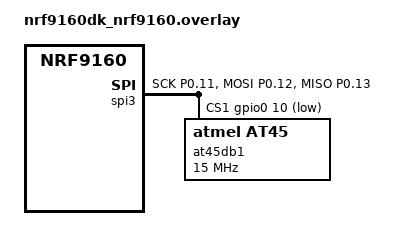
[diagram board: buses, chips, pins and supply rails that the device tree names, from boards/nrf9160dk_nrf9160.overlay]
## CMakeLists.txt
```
# SPDX-License-Identifier: Apache-2.0

cmake_minimum_required(VERSION 3.20.0)
find_package(Zephyr REQUIRED HINTS $ENV{ZEPHYR_BASE})
project(spi_flash_at45)

FILE(GLOB app_sources src/*.c)
target_sources(app PRIVATE ${app_sources})
```

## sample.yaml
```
sample:
  name: SPI Flash AT45 Sample
tests:
  sample.drivers.spi.flash.at45.build:
    tags:
      - spi
      - flash
    depends_on: spi
    filter: dt_compat_enabled("atmel,at45")
    build_only: true
  sample.drivers.spi.flash.at45.build.page_layout:
    extra_args: OVERLAY_CONFIG="overlay-page_layout.conf"
    tags:
      - spi
      - flash
    depends_on: spi
    filter: dt_compat_enabled("atmel,at45")
    build_only: true
  sample.drivers.spi.flash.at45.build.pm:
    extra_args: OVERLAY_CONFIG="overlay-pm.conf"
    tags:
      - spi
      - flash
    depends_on: spi
    filter: dt_compat_enabled("atmel,at45")
    build_only: true
  sample.drivers.spi.flash.at45.build.page_layout_pm:
    extra_args: OVERLAY_CONFIG="overlay-page_layout.conf;overlay-pm.conf"
    tags:
      - spi
      - flash
    depends_on: spi
    filter: dt_compat_enabled("atmel,at45")
    build_only: true
  sample.drivers.spi.flash.at45:
    extra_args: OVERLAY_CONFIG="overlay-page_layout.conf;overlay-pm.conf"
    tags:
      - spi
      - flash
    depends_on: spi
    filter: dt_compat_enabled("atmel,at45")
    harness: console
    harness_config:
      type: multi_line
      ordered: true
      regex:
        - "Using \\w+, chip size: \\d+ bytes \\(page: \\d+\\)"
        - "Reading the first byte of the test region ... OK"
        - "Preparing test content starting with 0x[0-9a-f]{2}."
        - "Writing the first half of the test region... OK"
        - "Writing the second half of the test region... OK"
        - "Reading the whole test region... OK"
        - "Checking the read content... OK"
        - "Putting the flash device into low power state... OK"
      fixture: atmel_at45
```

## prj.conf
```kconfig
CONFIG_STDOUT_CONSOLE=y
CONFIG_LOG=y
CONFIG_LOG_MODE_IMMEDIATE=y

CONFIG_SPI=y
CONFIG_FLASH=y
CONFIG_PM_DEVICE=y
```

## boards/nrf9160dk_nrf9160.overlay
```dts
/*
 * Copyright (c) 2020 Nordic Semiconductor ASA
 *
 * SPDX-License-Identifier: Apache-2.0
 */

&pinctrl {
	spi3_default_alt: spi3_default_alt {
		group1 {
			psels = <NRF_PSEL(SPIM_SCK, 0, 11)>,
				<NRF_PSEL(SPIM_MOSI, 0, 12)>,
				<NRF_PSEL(SPIM_MISO, 0, 13)>;
		};
	};

	spi3_sleep_alt: spi3_sleep_alt {
		group1 {
			psels = <NRF_PSEL(SPIM_SCK, 0, 11)>,
				<NRF_PSEL(SPIM_MOSI, 0, 12)>,
				<NRF_PSEL(SPIM_MISO, 0, 13)>;
			low-power-enable;
		};
	};
};

&spi3 {
	pinctrl-0 = <&spi3_default_alt>;
	pinctrl-1 = <&spi3_sleep_alt>;
	pinctrl-names = "default", "sleep";
	cs-gpios = <&gpio0 20 GPIO_ACTIVE_LOW>,
		   <&gpio0 10 GPIO_ACTIVE_LOW>;

	at45db0: at45db041e@0 {
		compatible = "atmel,at45";
		reg = <0>;
		spi-max-frequency = <15000000>;
		jedec-id = [1f 24 00];
		size = <4194304>;
		sector-size = <65536>;
		block-size = <2048>;
		page-size = <256>;
		enter-dpd-delay = <2000>;
		exit-dpd-delay = <35000>;
		status = "disabled";
	};

	at45db1: at45db321e@1 {
		compatible = "atmel,at45";
		reg = <1>;
		spi-max-frequency = <15000000>;
		jedec-id = [1f 27 01];
		size = <33554432>;
		sector-size = <65536>;
		block-size = <4096>;
		page-size = <512>;
		use-udpd;
		enter-dpd-delay = <1000>;
		exit-dpd-delay = <180000>;
		status = "okay";
	};
};

&uart0 {
	/*
	 * Only TX is used in this sample, so disable RX to prevent UART
	 * receiver from being enabled and consuming power.
	 */
	disable-rx;
};
```

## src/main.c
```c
/*
 * Copyright (c) 2020 Nordic Semiconductor ASA
 *
 * SPDX-License-Identifier: Apache-2.0
 */

#include <zephyr/kernel.h>
#include <zephyr/drivers/flash.h>
#include <zephyr/logging/log_ctrl.h>
#include <zephyr/pm/device.h>

/* Set to 1 to test the chip erase functionality. Please be aware that this
 * operation takes quite a while (it depends on the chip size, but can easily
 * take tens of seconds).
 * Note - erasing of the test region or whole chip is performed only when
 *        CONFIG_SPI_FLASH_AT45_USE_READ_MODIFY_WRITE is not enabled.
 */
#define ERASE_WHOLE_CHIP    0

#define TEST_REGION_OFFSET  0xFE00
#define TEST_REGION_SIZE    0x400

static uint8_t write_buf[TEST_REGION_SIZE];
static uint8_t read_buf[TEST_REGION_SIZE];

int main(void)
{
	printk("DataFlash sample on %s\n", CONFIG_BOARD);

	const struct device *const flash_dev = DEVICE_DT_GET_ONE(atmel_at45);
	int i;
	int err;
	uint8_t data;
#ifdef CONFIG_FLASH_PAGE_LAYOUT
	struct flash_pages_info pages_info;
	size_t page_count, chip_size;
#endif

	if (!device_is_ready(flash_dev)) {
		printk("%s: device not ready.\n", flash_dev->name);
		return 0;
	}

#ifdef CONFIG_FLASH_PAGE_LAYOUT
	page_count = flash_get_page_count(flash_dev);
	(void)flash_get_page_info_by_idx(flash_dev, 0, &pages_info);
	chip_size = page_count * pages_info.size;
	printk("Using %s, chip size: %u bytes (page: %u)\n",
	       flash_dev->name, chip_size, pages_info.size);
#endif

	printk("Reading the first byte of the test region ... ");
	err = flash_read(flash_dev, TEST_REGION_OFFSET, &data, 1);
	if (err != 0) {
		printk("FAILED\n");
		return 0;
	}

	printk("OK\n");

	++data;
	printk("Preparing test content starting with 0x%02X.\n", data);
	for (i = 0; i < TEST_REGION_SIZE; ++i) {
		write_buf[i] = (uint8_t)(data + i);
	}

#ifndef CONFIG_SPI_FLASH_AT45_USE_READ_MODIFY_WRITE
	if (ERASE_WHOLE_CHIP) {
#ifdef CONFIG_FLASH_PAGE_LAYOUT
		printk("Erasing the whole chip... ");
		err = flash_erase(flash_dev, 0, chip_size);
#else
		#error To full chip erase you need enable flash page layout
#endif
	} else {
		printk("Erasing the test region... ");
		err = flash_erase(flash_dev,
				  TEST_REGION_OFFSET, TEST_REGION_SIZE);
	}

	if (err != 0) {
		printk("FAILED\n");
		return 0;
	}

	printk("OK\n");

	printk("Checking if the test region is erased... ");
	err = flash_read(flash_dev, TEST_REGION_OFFSET,
			 read_buf, TEST_REGION_SIZE);
	if (err != 0) {
		printk("FAILED\n");
		return 0;
	}

	for (i = 0; i < TEST_REGION_SIZE; ++i) {
		if (read_buf[i] != 0xFF) {
			printk("\nERROR at read_buf[%d]: "
			       "expected 0x%02X, got 0x%02X\n",
			       i, 0xFF, read_buf[i]);
			return 0;
		}
	}

	printk("OK\n");
#endif /* !CONFIG_SPI_FLASH_AT45_USE_READ_MODIFY_WRITE */

	printk("Writing the first half of the test region... ");
	err = flash_write(flash_dev, TEST_REGION_OFFSET,
			  write_buf,  TEST_REGION_SIZE/2);
	if (err != 0) {
		printk("FAILED\n");
		return 0;
	}

	printk("OK\n");

	printk("Writing the second half of the test region... ");
	err = flash_write(flash_dev, TEST_REGION_OFFSET + TEST_REGION_SIZE/2,
			  &write_buf[TEST_REGION_SIZE/2], TEST_REGION_SIZE/2);
	if (err != 0) {
		printk("FAILED\n");
		return 0;
	}

	printk("OK\n");

	printk("Reading the whole test region... ");
	err = flash_read(flash_dev, TEST_REGION_OFFSET,
			 read_buf, TEST_REGION_SIZE);
	if (err != 0) {
		printk("FAILED\n");
		return 0;
	}

	printk("OK\n");

	printk("Checking the read content... ");
	for (i = 0; i < TEST_REGION_SIZE; ++i) {
		if (read_buf[i] != write_buf[i]) {
			printk("\nERROR at read_buf[%d]: "
			       "expected 0x%02X, got 0x%02X\n",
			       i, write_buf[i], read_buf[i]);
			return 0;
		}
	}

	printk("OK\n");

#if defined(CONFIG_PM_DEVICE)
	printk("Putting the flash device into suspended state... ");
	err = pm_device_action_run(flash_dev, PM_DEVICE_ACTION_SUSPEND);
	if (err != 0) {
		printk("FAILED\n");
		return 0;
	}

	printk("OK\n");
#endif

	k_sleep(K_FOREVER);
	return 0;
}
```
